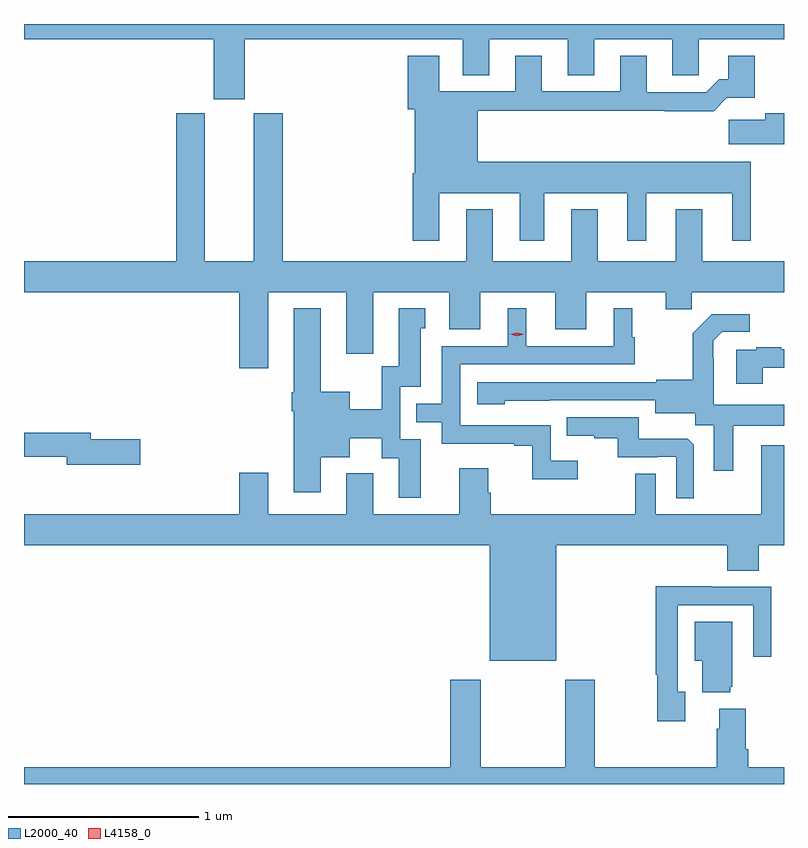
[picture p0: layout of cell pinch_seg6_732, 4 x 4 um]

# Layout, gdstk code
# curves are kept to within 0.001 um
import gdstk
lib = gdstk.Library(unit=1e-6, precision=1e-09)
def P(c, l, *ps):  # polygons
    for p in ps: c.add(gdstk.Polygon(p, *l))
L2000_40 = (2000, 40)
L4158_0 = (4158, 0)

pinch_seg6_732 = lib.new_cell('pinch_seg6_732')
P(pinch_seg6_732, L2000_40, [(531.028,942.008),(532.175,942.008),(532.175,941.818),(532.315,941.818),(532.315,942.008),(532.727,942.008),(532.727,941.818),(532.867,941.818),(532.867,942.008),(533.279,942.008),(533.279,941.818),(533.418,941.818),(533.418,942.008),(533.866,942.008),(533.866,942.088),(529.866,942.088),(529.866,942.008),(530.864,942.008),(530.864,941.691),(531.028,941.691)],
  [(532.051,941.198),(532.475,941.198),(532.475,940.947),(532.603,940.947),(532.603,941.198),(533.042,941.198),(533.042,940.947),(533.14,940.947),(533.14,941.198),(533.594,941.198),(533.594,940.947),(533.692,940.947),(533.692,941.362),(532.255,941.362),(532.255,941.632),(533.239,941.632),(533.239,941.63),(533.495,941.63),(533.564,941.699),(533.713,941.699),(533.713,941.92),(533.573,941.92),(533.573,941.797),(533.524,941.797),(533.457,941.73),(533.143,941.73),(533.143,941.92),(533.003,941.92),(533.003,941.733),(532.591,941.733),(532.591,941.92),(532.451,941.92),(532.451,941.733),(532.051,941.733),(532.051,941.92),(531.887,941.92),(531.887,941.64),(531.923,941.64),(531.923,941.302),(531.911,941.302),(531.911,940.947),(532.051,940.947)],
  [(531.151,940.676),(531.563,940.676),(531.563,940.353),(531.703,940.353),(531.703,940.676),(532.103,940.676),(532.103,940.482),(532.267,940.482),(532.267,940.676),(532.661,940.676),(532.661,940.482),(532.825,940.482),(532.825,940.676),(533.243,940.676),(533.243,940.586),(533.381,940.586),(533.381,940.676),(533.866,940.676),(533.866,940.84),(533.437,940.84),(533.437,941.113),(533.297,941.113),(533.297,940.84),(532.885,940.84),(532.885,941.113),(532.745,941.113),(532.745,940.84),(532.333,940.84),(532.333,941.113),(532.193,941.113),(532.193,940.84),(531.227,940.84),(531.227,941.619),(531.074,941.619),(531.074,940.84),(530.818,940.84),(530.818,941.619),(530.666,941.619),(530.666,940.84),(529.866,940.84),(529.866,940.676),(530.999,940.676),(530.999,940.275),(531.151,940.275)],
  [(533.866,941.617),(533.768,941.617),(533.768,941.585),(533.574,941.585),(533.574,941.456),(533.866,941.456)],
  [(532.78,939.79),(532.638,939.79),(532.638,939.975),(532.161,939.975),(532.161,940.296),(533.08,940.296),(533.08,940.44),(533.068,940.44),(533.068,940.591),(532.97,940.591),(532.97,940.392),(532.51,940.392),(532.51,940.591),(532.412,940.591),(532.412,940.392),(532.065,940.392),(532.065,940.089),(531.931,940.089),(531.931,939.993),(532.065,939.993),(532.065,939.879),(532.445,939.879),(532.445,939.867),(532.54,939.867),(532.54,939.692),(532.78,939.692)],
  [(531.955,939.903),(531.846,939.903),(531.846,940.179),(531.955,940.179),(531.955,940.488),(531.979,940.488),(531.979,940.591),(531.839,940.591),(531.839,940.287),(531.75,940.287),(531.75,940.06),(531.58,940.06),(531.58,940.153),(531.427,940.153),(531.427,940.591),(531.287,940.591),(531.287,940.149),(531.275,940.149),(531.275,940.049),(531.287,940.049),(531.287,939.624),(531.427,939.624),(531.427,939.809),(531.58,939.809),(531.58,939.908),(531.749,939.908),(531.749,939.802),(531.839,939.802),(531.839,939.594),(531.955,939.594)],
  [(533.599,939.974),(533.866,939.974),(533.866,940.084),(533.496,940.084),(533.496,940.325),(533.494,940.325),(533.494,940.42),(533.541,940.467),(533.686,940.467),(533.686,940.561),(533.485,940.561),(533.385,940.461),(533.385,940.216),(533.193,940.216),(533.193,940.203),(532.251,940.203),(532.251,940.088),(532.395,940.088),(532.395,940.106),(533.189,940.107),(533.189,940.04),(533.4,940.04),(533.4,939.976),(533.495,939.976),(533.495,939.738),(533.599,939.738)],
  [(533.755,940.278),(533.866,940.278),(533.866,940.376),(533.851,940.376),(533.851,940.387),(533.719,940.387),(533.719,940.374),(533.615,940.374),(533.615,940.194),(533.755,940.194)],
  [(533.391,939.873),(533.359,939.905),(533.101,939.905),(533.101,940.017),(532.723,940.017),(532.723,939.92),(532.867,939.92),(532.867,939.909),(532.991,939.909),(532.991,939.807),(533.198,939.807),(533.198,939.81),(533.298,939.81),(533.298,939.593),(533.391,939.593)],
  [(530.479,939.902),(530.218,939.902),(530.218,939.938),(529.866,939.938),(529.866,939.81),(530.09,939.81),(530.09,939.767),(530.479,939.767)],
  [(532.666,939.344),(533.567,939.344),(533.567,939.211),(533.732,939.211),(533.732,939.344),(533.866,939.344),(533.866,939.871),(533.747,939.871),(533.747,939.508),(533.19,939.508),(533.19,939.722),(533.082,939.722),(533.082,939.508),(532.322,939.508),(532.322,939.621),(532.309,939.621),(532.309,939.751),(532.157,939.751),(532.157,939.508),(531.703,939.508),(531.703,939.724),(531.563,939.724),(531.563,939.508),(531.151,939.508),(531.151,939.727),(530.999,939.727),(530.999,939.508),(529.866,939.508),(529.866,939.344),(532.316,939.344),(532.316,938.738),(532.666,938.738)],
  [(533.347,938.574),(533.307,938.574),(533.307,939.03),(533.703,939.03),(533.703,938.757),(533.799,938.757),(533.799,939.126),(533.483,939.126),(533.483,939.128),(533.191,939.128),(533.191,938.662),(533.199,938.662),(533.199,938.418),(533.347,938.418)],
  [(533.582,938.601),(533.593,938.601),(533.593,938.941),(533.396,938.941),(533.396,938.738),(533.435,938.738),(533.435,938.57),(533.582,938.57)],
  [(533.866,938.176),(533.678,938.176),(533.678,938.272),(533.665,938.272),(533.665,938.485),(533.525,938.485),(533.525,938.378),(533.513,938.378),(533.513,938.176),(532.869,938.176),(532.869,938.638),(532.714,938.638),(532.714,938.176),(532.269,938.176),(532.269,938.638),(532.109,938.638),(532.109,938.176),(529.866,938.176),(529.866,938.088),(533.866,938.088)])
P(pinch_seg6_732, L4158_0, [(532.461,940.444),(532.425,940.454),(532.425,940.454),(532.425,940.454),(532.461,940.464),(532.497,940.455),(532.497,940.455),(532.497,940.455)])

lib.write_gds('pinch_seg6_732.gds')
